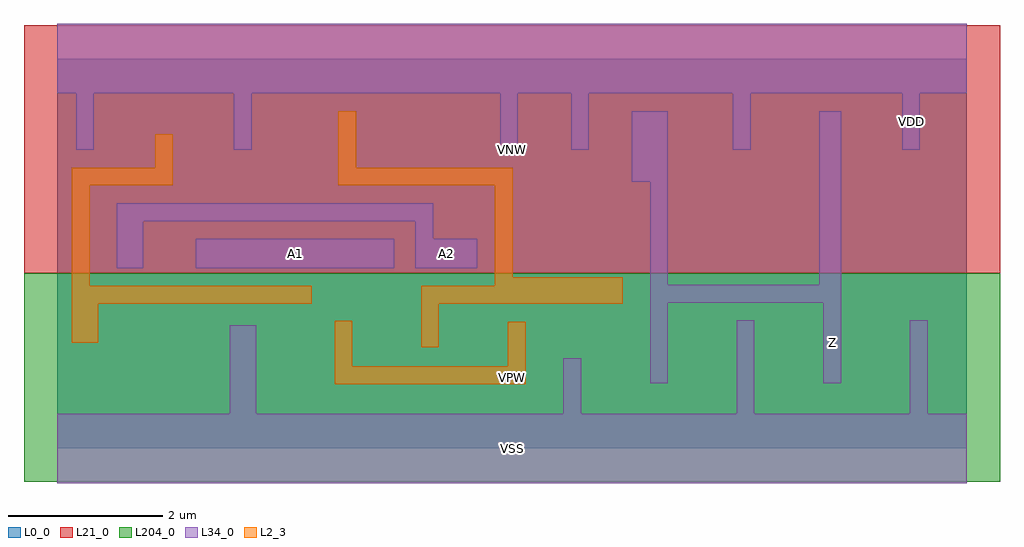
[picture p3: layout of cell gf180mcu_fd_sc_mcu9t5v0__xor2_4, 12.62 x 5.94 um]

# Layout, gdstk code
import gdstk
lib = gdstk.Library(unit=1e-6, precision=1e-09)
def R(c, l, rs):  # rectangles x0, y0, x1, y1
    for r in rs: c.add(gdstk.rectangle(r[:2], r[2:], *l))
L0_0 = (0, 0)
L2_3 = (2, 3)
L21_0 = (21, 0)
L34_0 = (34, 0)
L204_0 = (204, 0)

gf180mcu_fd_sc_mcu9t5v0_ = lib.new_cell('gf180mcu_fd_sc_mcu9t5v0__xor2_4')
R(gf180mcu_fd_sc_mcu9t5v0_, L0_0, [(0,0,11.76,5.04)])
R(gf180mcu_fd_sc_mcu9t5v0_, L2_3, [(3.585,0.83,6.055,1.06), (3.585,1.06,3.815,1.65), (5.825,1.06,6.055,1.64), (4.705,1.31,4.935,1.87), (0.19,1.365,0.53,1.87), (0.19,1.87,3.29,2.1), (4.705,1.87,7.315,2.1), (0.19,2.1,0.42,3.4), (5.66,2.1,7.315,2.21), (5.66,2.21,5.89,3.4), (0.19,3.4,1.495,3.63), (3.635,3.4,5.89,3.63), (1.265,3.63,1.495,4.065), (3.635,3.63,3.865,4.36)])
R(gf180mcu_fd_sc_mcu9t5v0_, L21_0, [(-0.43,2.265,12.19,5.47)])
R(gf180mcu_fd_sc_mcu9t5v0_, L34_0, [(0,-0.45,11.76,0.45), (2.23,0.45,2.57,1.595), (6.545,0.45,6.775,1.165), (8.785,0.45,9.015,1.655), (11.025,0.45,11.255,1.655), (7.665,0.845,7.895,1.885), (9.905,0.845,10.135,1.885), (7.665,1.885,10.135,2.115), (7.665,2.115,7.895,3.45), (9.855,2.115,10.135,4.36), (0.77,2.33,1.11,2.94), (1.79,2.33,4.36,2.71), (4.63,2.33,5.43,2.71), (4.63,2.71,4.86,2.94), (0.77,2.94,4.86,3.17), (7.43,3.45,7.895,4.36), (0.245,3.86,0.475,4.59), (2.285,3.86,2.515,4.59), (5.725,3.86,5.955,4.59), (6.645,3.86,6.875,4.59), (8.735,3.86,8.965,4.59), (10.925,3.86,11.155,4.59), (0,4.59,11.76,5.49)])
R(gf180mcu_fd_sc_mcu9t5v0_, L204_0, [(-0.43,-0.43,12.19,2.265)])
gf180mcu_fd_sc_mcu9t5v0_.add(gdstk.Label('A1', (3.075,2.52), layer=34, texttype=10))
gf180mcu_fd_sc_mcu9t5v0_.add(gdstk.Label('A2', (5.03,2.52), layer=34, texttype=10))
gf180mcu_fd_sc_mcu9t5v0_.add(gdstk.Label('Z', (10.02,1.365), layer=34, texttype=10))
gf180mcu_fd_sc_mcu9t5v0_.add(gdstk.Label('VDD', (11.04,4.225), layer=34, texttype=10))
gf180mcu_fd_sc_mcu9t5v0_.add(gdstk.Label('VSS', (5.88,0), layer=34, texttype=10))
gf180mcu_fd_sc_mcu9t5v0_.add(gdstk.Label('VNW', (5.88,3.867), layer=3, texttype=1))
gf180mcu_fd_sc_mcu9t5v0_.add(gdstk.Label('VPW', (5.88,0.917), layer=4, texttype=1))

lib.write_gds('gf180mcu_fd_sc_mcu9t5v0__xor2_4.gds')
